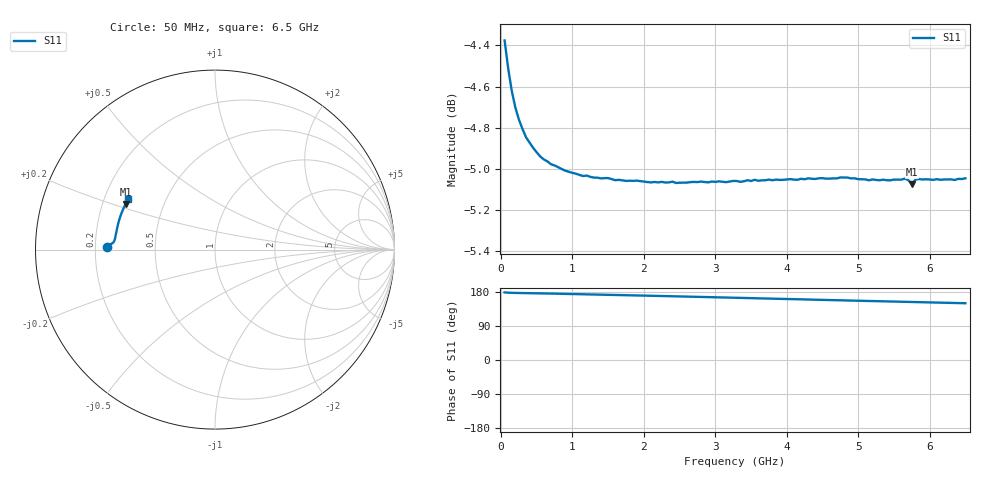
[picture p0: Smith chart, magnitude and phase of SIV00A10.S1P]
! (c) 1999  Infineon Technologies AG, Munich
! Infineon Technologies  Discrete & RF Semiconductors
! BAT24-02LS
! Si Schottky Diode in TSSLP-2
! IF = 100 mA
! S-Parameters:  July  2007
# GHz  S  MA  R  50
!  f  S11
! GHz  MAG  ANG
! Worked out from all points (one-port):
!   130 points, 50 MHz to 6.5 GHz, reference 50 ohm
!   lowest |S11| = -5.1 dB at 5.75 GHz (marker M1), VSWR 3.52, Z = 15 + j10.9 ohm
!   |S11| at or under -10 dB: nowhere
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0.05  0.6042 178.5
0.1  0.5948 177.6
0.15  0.5874 177.2
0.2  0.582 177.0
0.25  0.5781 176.8
0.35  0.5723 176.4
0.55  0.5662 175.8
0.65  0.5647 175.5
0.9  0.5617 174.5
1  0.5611 174.1
1.05  0.5608 174.0
1.1  0.5604 173.7
1.6  0.5588 171.7
1.7  0.5587 171.2
2.5  0.558 167.7
2.65  0.5582 167.1
2.7  0.5582 166.8
2.85  0.5582 166.2
3.3  0.5585 164.1
4.1  0.5589 160.5
4.5  0.5594 158.7
4.9  0.5593 156.8
5.7  0.5588 153.3
5.75  0.5574 153.1
5.8  0.5589 152.8
6.05  0.5589 151.8
6.1  0.5591 151.5
6.5  0.5594 149.8
